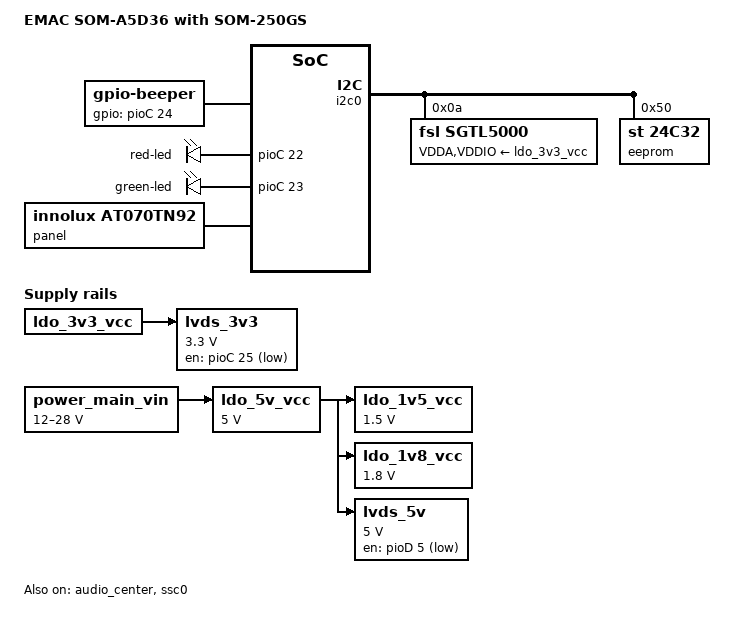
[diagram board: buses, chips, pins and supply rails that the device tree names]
// SPDX-License-Identifier: GPL-2.0-or-later
/*
 * som-a5d36-250gs.dts - Device Tree file for the SOM-A5D36 w/ a 250gs EMAC Carrier.
 *
 * Copyright (C) 2023 EMAC Inc.
 *
 */

/dts-v1/;
#include "som-a5d36-2xx.dts"

/delete-node/ &power_12v_accy;
/delete-node/ &power_5v_vcc;

/ {
	model = "EMAC SOM-A5D36 with SOM-250GS";
	
	regulators {
		power_main_vin: power_main_vin@10 {
			compatible = "regulator-fixed";
			reg = <10>;
			regulator-name = "POWER";
			regulator-min-microvolt = <12000000>;
			regulator-max-microvolt = <28000000>;
			regulator-always-on;
		};
		ldo_5v_vcc: ldo_5v_vcc@11 {
			compatible = "regulator-fixed";
			reg = <11>;
			regulator-name = "5V_LDO";
			regulator-min-microvolt = <5000000>;
			regulator-max-microvolt = <5000000>;
			regulator-always-on;
			vin-supply = <&power_main_vin>;
		};
		ldo_3v3_vcc@8 {
			vin-supply = <&power_main_vin>;
		};
		ldo_1v5_vcc: ldo_1v5_vcc@12 {
			compatible = "regulator-fixed";
			reg = <12>;
			regulator-name = "1V5_LDO";
			regulator-min-microvolt = <1500000>;
			regulator-max-microvolt = <1500000>;
			regulator-always-on;
			vin-supply = <&ldo_5v_vcc>;
		};
		ldo_1v8_vcc: ldo_1v8_vcc@13 {
			compatible = "regulator-fixed";
			reg = <13>;
			regulator-name = "1V8_LDO";
			regulator-min-microvolt = <1800000>;
			regulator-max-microvolt = <1800000>;
			regulator-always-on;
			vin-supply = <&ldo_5v_vcc>;
		};
		lvds_3v3: lvds_3v3@14 {
			compatible = "regulator-fixed";
			reg = <14>;
			regulator-name = "LVDS_3V3";
			regulator-min-microvolt = <3300000>;
			regulator-max-microvolt = <3300000>;
			gpio = <&pioC 25 GPIO_ACTIVE_HIGH>;
			vin-supply = <&ldo_3v3_vcc>;
		};
		lvds_5v: lvds_5v@15 {
			compatible = "regulator-fixed";
			reg = <15>;
			regulator-name = "LVDS_5V";
			regulator-min-microvolt = <5000000>;
			regulator-max-microvolt = <5000000>;
			gpio = <&pioD 5 GPIO_ACTIVE_HIGH>;
			vin-supply = <&ldo_5v_vcc>;
		};
	};
	beeper {
		compatible = "gpio-beeper";
		gpios = <&pioC 24 GPIO_ACTIVE_HIGH>;
		status = "okay";
	};
	leds {
		red-led {
			label = "red-led";
			gpios = <&pioC 22 GPIO_ACTIVE_HIGH>;
			default-state = "on";
		};
		green-led {
			label = "green-led";
			gpios = <&pioC 23 GPIO_ACTIVE_HIGH>;
			default-state = "on";
		};
	};
};

/* RGB888 with lowest bits ignored making RGB666*/
&pinctrl_lcd_rgb888 {
	atmel,pins =
		<AT91_PIOA 2 AT91_PERIPH_A AT91_PINCTRL_NONE	/* LCDD2 pin */
		 AT91_PIOA 3 AT91_PERIPH_A AT91_PINCTRL_NONE	/* LCDD3 pin */
		 AT91_PIOA 4 AT91_PERIPH_A AT91_PINCTRL_NONE	/* LCDD4 pin */
		 AT91_PIOA 5 AT91_PERIPH_A AT91_PINCTRL_NONE	/* LCDD5 pin */
		 AT91_PIOA 6 AT91_PERIPH_A AT91_PINCTRL_NONE	/* LCDD6 pin */
		 AT91_PIOA 7 AT91_PERIPH_A AT91_PINCTRL_NONE	/* LCDD7 pin */
		 AT91_PIOA 10 AT91_PERIPH_A AT91_PINCTRL_NONE	/* LCDD10 pin */
		 AT91_PIOA 11 AT91_PERIPH_A AT91_PINCTRL_NONE	/* LCDD11 pin */
		 AT91_PIOA 12 AT91_PERIPH_A AT91_PINCTRL_NONE	/* LCDD12 pin */
		 AT91_PIOA 13 AT91_PERIPH_A AT91_PINCTRL_NONE	/* LCDD13 pin */
		 AT91_PIOA 14 AT91_PERIPH_A AT91_PINCTRL_NONE	/* LCDD14 pin */
		 AT91_PIOA 15 AT91_PERIPH_A AT91_PINCTRL_NONE	/* LCDD15 pin */
		 AT91_PIOA 18 AT91_PERIPH_A AT91_PINCTRL_NONE	/* LCDD18 pin */
		 AT91_PIOA 19 AT91_PERIPH_A AT91_PINCTRL_NONE	/* LCDD19 pin */
		 AT91_PIOA 20 AT91_PERIPH_A AT91_PINCTRL_NONE	/* LCDD20 pin */
		 AT91_PIOA 21 AT91_PERIPH_A AT91_PINCTRL_NONE	/* LCDD21 pin */
		 AT91_PIOA 22 AT91_PERIPH_A AT91_PINCTRL_NONE	/* LCDD22 pin */
		 AT91_PIOA 23 AT91_PERIPH_A AT91_PINCTRL_NONE>;	/* LCDD23 pin */
};

&lcd_backlight {
	power-supply = <&lvds_3v3>;
	enable-gpios = <&pioD 5 GPIO_ACTIVE_HIGH>;
};

&panel {
	compatible = "innolux,at070tn92", "simple-panel";
};

&spi0 {
	num-cs = <3>;
	pinctrl-0 = < &pinctrl_spi0
				  &pinctrl_spi0_cs0
				  &pinctrl_spi0_cs2
				  &pinctrl_spi0_cs4
				>;
	cs-gpios = <&pioD LEGACY_SPI_FLASH_CS GPIO_ACTIVE_LOW>,
				<&pioD 15 GPIO_ACTIVE_LOW>,
				<&pioC 28 GPIO_ACTIVE_LOW>;
};

// COM D
&usart0 {
	/delete-property/ rts-gpios;
	/delete-property/ cts-gpios;
};

&dbgu {
	/delete-property/ rts-gpios;
	/delete-property/ cts-gpios;
};

&audio_center {
    status = "okay";
	simple-audio-card,name = "sgtl5000";
    simple-audio-card,bitclock-master = <&codec_master>;
	simple-audio-card,frame-master = <&codec_master>;
    codec_master: simple-audio-card,codec {
        sound-dai = <&sgtl5000>;
        clocks = <&audio_mclk>;
        frame-master;
		bitclock-master;
    };
};

&ssc0 {
	#sound-dai-cells = <0x00>;
    status = "okay";
};

&i2c0 {
	sgtl5000: sgtl5000@0a {
		#sound-dai-cells = <0>;
		compatible = "fsl,sgtl5000";
		reg = <0x0a>;
		VDDA-supply = <&ldo_3v3_vcc>;
		VDDIO-supply = <&ldo_3v3_vcc>;
	};

	eeprom@51 {
		compatible = "st,24c32";
		reg = <0x50>;
		pagesize = <32>;
	};

};
